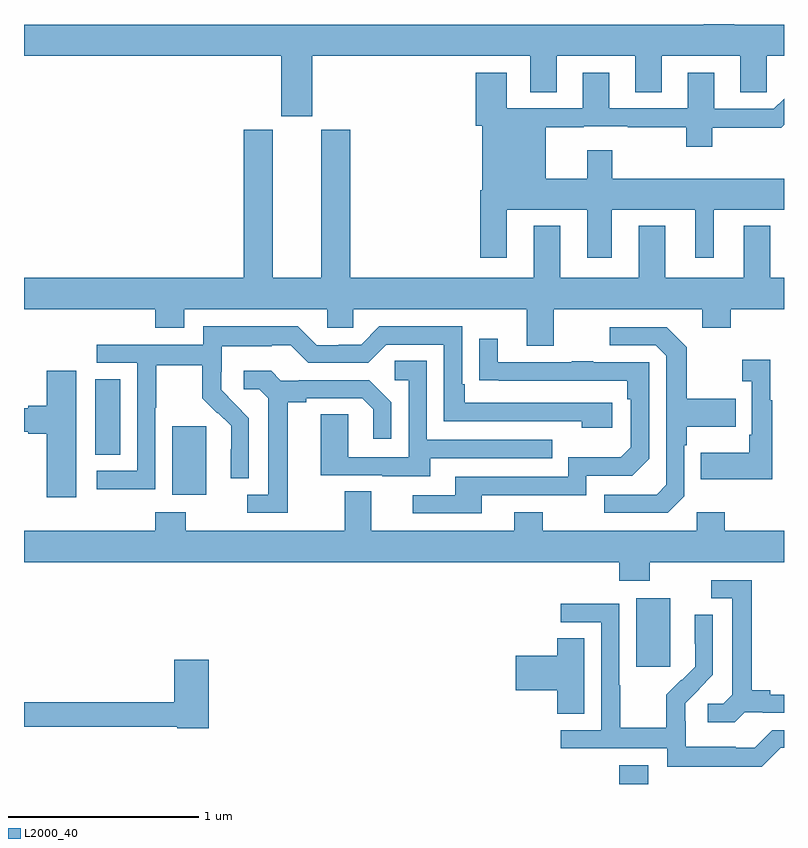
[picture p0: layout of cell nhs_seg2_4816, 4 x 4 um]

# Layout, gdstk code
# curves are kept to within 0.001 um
import gdstk
lib = gdstk.Library(unit=1e-6, precision=1e-09)
def R(c, l, rs):  # rectangles x0, y0, x1, y1
    for r in rs: c.add(gdstk.rectangle(r[:2], r[2:], *l))
def P(c, l, *ps):  # polygons
    for p in ps: c.add(gdstk.Polygon(p, *l))
L2000_40 = (2000, 40)

nhs_seg2_4816 = lib.new_cell('nhs_seg2_4816')
R(nhs_seg2_4816, L2000_40, [(376.133,647.8,376.285,647.899), (376.223,648.417,376.402,648.778), (373.781,649.322,373.96,649.683), (373.376,649.534,373.507,649.931)])
P(nhs_seg2_4816, L2000_40, [(374.518,651.632),(375.665,651.632),(375.665,651.442),(375.805,651.442),(375.805,651.632),(376.217,651.632),(376.217,651.442),(376.357,651.442),(376.357,651.632),(376.769,651.632),(376.769,651.442),(376.908,651.442),(376.908,651.632),(377,651.632),(377,651.796),(376.737,651.796),(376.737,651.8),(376.577,651.8),(376.577,651.796),(373,651.796),(373,651.632),(374.354,651.632),(374.354,651.315),(374.518,651.315)],
  [(375.541,650.822),(375.965,650.822),(375.965,650.571),(376.093,650.571),(376.093,650.822),(376.532,650.822),(376.532,650.571),(376.63,650.571),(376.63,650.822),(377,650.822),(377,650.986),(376.095,650.986),(376.095,651.136),(375.965,651.136),(375.965,650.986),(375.745,650.986),(375.745,651.256),(375.945,651.256),(375.945,651.261),(376.177,651.261),(376.177,651.256),(376.486,651.256),(376.486,651.155),(376.623,651.155),(376.623,651.254),(376.985,651.254),(377,651.269),(377,651.407),(376.947,651.354),(376.633,651.354),(376.633,651.544),(376.493,651.544),(376.493,651.357),(376.081,651.357),(376.081,651.544),(375.941,651.544),(375.941,651.357),(375.541,651.357),(375.541,651.544),(375.377,651.544),(375.377,651.264),(375.413,651.264),(375.413,650.926),(375.401,650.926),(375.401,650.571),(375.541,650.571)],
  [(375.787,650.3),(376.571,650.3),(376.571,650.201),(376.719,650.201),(376.719,650.3),(377,650.3),(377,650.464),(376.927,650.464),(376.927,650.737),(376.787,650.737),(376.787,650.464),(376.375,650.464),(376.375,650.737),(376.235,650.737),(376.235,650.464),(375.823,650.464),(375.823,650.737),(375.683,650.737),(375.683,650.464),(374.717,650.464),(374.717,651.243),(374.564,651.243),(374.564,650.464),(374.308,650.464),(374.308,651.243),(374.156,651.243),(374.156,650.464),(373,650.464),(373,650.3),(373.691,650.3),(373.691,650.201),(373.843,650.201),(373.843,650.3),(374.595,650.3),(374.595,650.202),(374.733,650.202),(374.733,650.3),(375.647,650.3),(375.647,650.106),(375.787,650.106)],
  [(373.692,649.78),(373.695,649.78),(373.695,650.004),(373.939,650.004),(373.939,649.829),(374.016,649.752),(374.019,649.755),(374.09,649.685),(374.09,649.562),(374.088,649.562),(374.088,649.408),(374.184,649.408),(374.184,649.726),(374.038,649.874),(374.038,649.971),(374.04,649.971),(374.04,650.105),(374.303,650.105),(374.303,650.109),(374.403,650.109),(374.496,650.016),(374.811,650.016),(374.907,650.112),(375.21,650.112),(375.21,649.71),(375.935,649.71),(375.935,649.676),(376.096,649.676),(376.096,649.806),(375.319,649.806),(375.319,649.903),(375.306,649.903),(375.306,650.208),(374.871,650.208),(374.775,650.112),(374.657,650.112),(374.657,650.109),(374.541,650.109),(374.441,650.209),(373.944,650.209),(373.944,650.112),(373.383,650.112),(373.383,650.016),(373.596,650.016),(373.596,649.449),(373.383,649.449),(373.383,649.351),(373.692,649.351)],
  [(376.476,649.314),(376.476,649.583),(376.489,649.583),(376.489,649.679),(376.745,649.679),(376.745,649.827),(376.489,649.827),(376.489,650.099),(376.383,650.205),(376.083,650.205),(376.083,650.109),(376.326,650.109),(376.38,650.055),(376.38,649.374),(376.329,649.323),(376.053,649.323),(376.053,649.227),(376.389,649.227)],
  [(375.409,649.32),(375.96,649.32),(375.96,649.422),(376.2,649.422),(376.29,649.512),(376.29,650.019),(375.995,650.019),(375.995,650.024),(375.883,650.024),(375.883,650.019),(375.493,650.019),(375.493,650.143),(375.397,650.143),(375.397,649.924),(376.174,649.923),(376.174,649.826),(376.194,649.826),(376.194,649.572),(376.141,649.519),(375.864,649.519),(375.864,649.416),(375.269,649.416),(375.269,649.32),(375.045,649.32),(375.045,649.224),(375.409,649.224)],
  [(376.939,649.819),(376.927,649.819),(376.927,650.032),(376.779,650.032),(376.779,649.919),(376.83,649.919),(376.83,649.639),(376.818,649.639),(376.818,649.543),(376.561,649.543),(376.561,649.403),(376.939,649.403)],
  [(375.139,649.515),(375.779,649.515),(375.779,649.611),(375.12,649.611),(375.12,650.027),(374.952,650.027),(374.952,649.926),(375.024,649.926),(375.024,649.521),(374.706,649.521),(374.706,649.745),(374.561,649.745),(374.561,649.425),(374.885,649.425),(374.885,649.421),(375.139,649.421)],
  [(374.389,649.808),(374.485,649.808),(374.485,649.83),(374.78,649.83),(374.837,649.773),(374.837,649.617),(374.934,649.617),(374.934,649.81),(374.818,649.926),(374.446,649.926),(374.446,649.923),(374.352,649.923),(374.3,649.975),(374.157,649.975),(374.157,649.878),(374.238,649.878),(374.285,649.831),(374.285,649.323),(374.175,649.323),(374.175,649.227),(374.389,649.227)],
  [(373.276,649.975),(373.121,649.975),(373.121,649.79),(373.022,649.79),(373.022,649.777),(373,649.777),(373,649.655),(373.022,649.655),(373.022,649.643),(373.121,649.643),(373.121,649.308),(373.276,649.308)],
  [(376.293,648.968),(377,648.968),(377,649.132),(376.689,649.132),(376.689,649.231),(376.542,649.231),(376.542,649.132),(375.729,649.132),(375.729,649.231),(375.581,649.231),(375.581,649.132),(374.827,649.132),(374.827,649.34),(374.687,649.34),(374.687,649.132),(373.851,649.132),(373.851,649.231),(373.691,649.231),(373.691,649.132),(373,649.132),(373,648.968),(376.133,648.968),(376.133,648.869),(376.293,648.869)],
  [(376.794,648.177),(376.888,648.177),(376.888,648.174),(377,648.174),(377,648.27),(376.927,648.27),(376.927,648.293),(376.831,648.293),(376.831,648.873),(376.617,648.873),(376.617,648.777),(376.727,648.777),(376.727,648.269),(376.68,648.222),(376.599,648.222),(376.599,648.125),(376.742,648.125)],
  [(376.983,647.991),(377,647.991),(377,648.084),(376.938,648.084),(376.845,647.991),(376.745,647.991),(376.745,647.995),(376.482,647.995),(376.482,648.129),(376.48,648.129),(376.48,648.226),(376.626,648.374),(376.626,648.692),(376.53,648.692),(376.53,648.538),(376.532,648.538),(376.532,648.416),(376.461,648.345),(376.458,648.348),(376.381,648.271),(376.381,648.097),(376.137,648.097),(376.137,648.32),(376.134,648.32),(376.134,648.75),(375.825,648.75),(375.825,648.651),(376.038,648.651),(376.038,648.084),(375.825,648.084),(375.825,647.988),(376.386,647.988),(376.386,647.891),(376.883,647.891)],
  [(375.949,648.566),(375.806,648.566),(375.806,648.476),(375.588,648.476),(375.588,648.293),(375.806,648.293),(375.806,648.169),(375.949,648.169)],
  [(373.973,648.454),(373.79,648.454),(373.79,648.23),(373,648.23),(373,648.102),(373.806,648.102),(373.806,648.094),(373.973,648.094)])

lib.write_gds('nhs_seg2_4816.gds')
